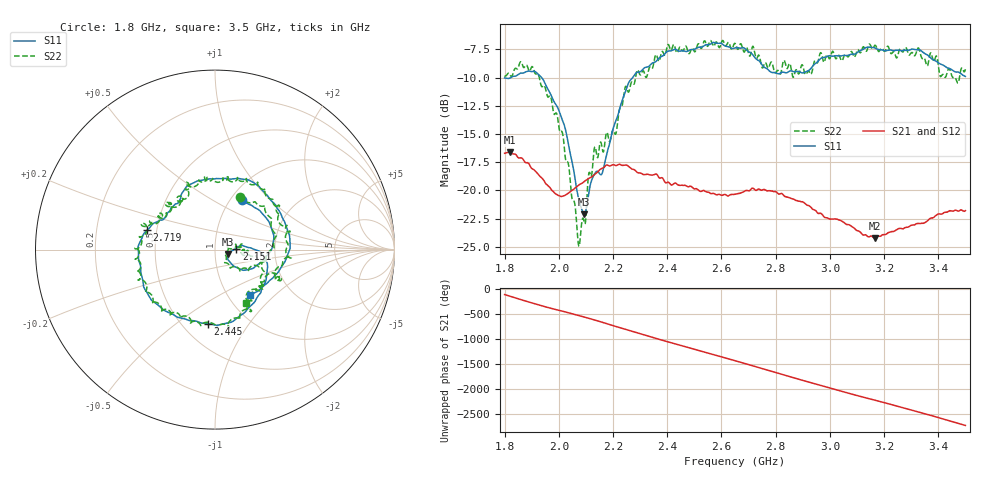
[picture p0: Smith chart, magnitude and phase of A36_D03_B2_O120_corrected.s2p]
! Created with skrf 1.9.0 (http://scikit-rf.org).
# Hz S RI R 50.0
!freq ReS11 ImS11 ReS21 ImS21 ReS12 ImS12 ReS22 ImS22
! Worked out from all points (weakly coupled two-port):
!   1601 points, 1.8 GHz to 3.5 GHz, reference 50 ohm
!   highest |S21| = -16.62 dB at 1.818 GHz (marker M1); lowest = -24.2 dB at 3.165 GHz (marker M2)
!   lowest |S11| = -22.1 dB at 2.093 GHz (marker M3), VSWR 1.17, Z = 58 - j2.88 ohm
!   |S11| at or under -10 dB: start of sweep to 1.824 GHz; 1.937 GHz to 2.273 GHz (336.1 MHz wide, 16 % of centre)
!   |S22| runs from -24.9 to -6.7 dB; largest |S21 - S12| = 0.0026
!   S11 on the Smith chart (normalised r, x): 1.8 GHz: 1.13, +0.69; 2.151 GHz: 1.27, +0.01; 2.445 GHz: 0.66, -0.66; 2.719 GHz: 0.44, +0.11; 3.5 GHz: 1.27, -0.71
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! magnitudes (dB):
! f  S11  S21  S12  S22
! 1.8 GHz  -10.0  -16.7  -16.7  -9.8
! 1.818 GHz  -10.1  -16.6  -16.6  -9.7
! 1.903 GHz  -9.5  -18.1  -18.1  -9.1
! 1.968 GHz  -11.4  -19.8  -19.8  -11.6
! 2.015 GHz  -13.9  -20.5  -20.5  -15.0
! 2.072 GHz  -20.6  -19.6  -19.6  -24.8
! 2.084 GHz  -21.6  -19.4  -19.3  -23.0
! 2.093 GHz  -22.1  -19.2  -19.3  -22.7
! 2.129 GHz  -18.7  -18.6  -18.6  -16.6
! 2.151 GHz  -18.5  -18.2  -18.2  -16.0
! 2.209 GHz  -13.9  -17.8  -17.7  -15.0
! 2.258 GHz  -10.4  -17.9  -17.9  -11.3
! 2.367 GHz  -8.3  -18.8  -18.7  -8.5
! 2.445 GHz  -7.7  -19.5  -19.5  -7.3
! 2.65 GHz  -7.4  -20.3  -20.3  -7.0
! 2.719 GHz  -8.1  -19.8  -19.8  -7.4
! 2.802 GHz  -9.6  -20.1  -20.2  -9.5
! 2.934 GHz  -9.1  -21.6  -21.6  -9.5
! 3.165 GHz  -7.4  -24.2  -24.2  -7.2
! 3.217 GHz  -7.6  -23.7  -23.7  -7.4
! 3.468 GHz  -9.5  -21.8  -21.8  -10.3
! 3.5 GHz  -9.9  -21.8  -21.8  -9.3
